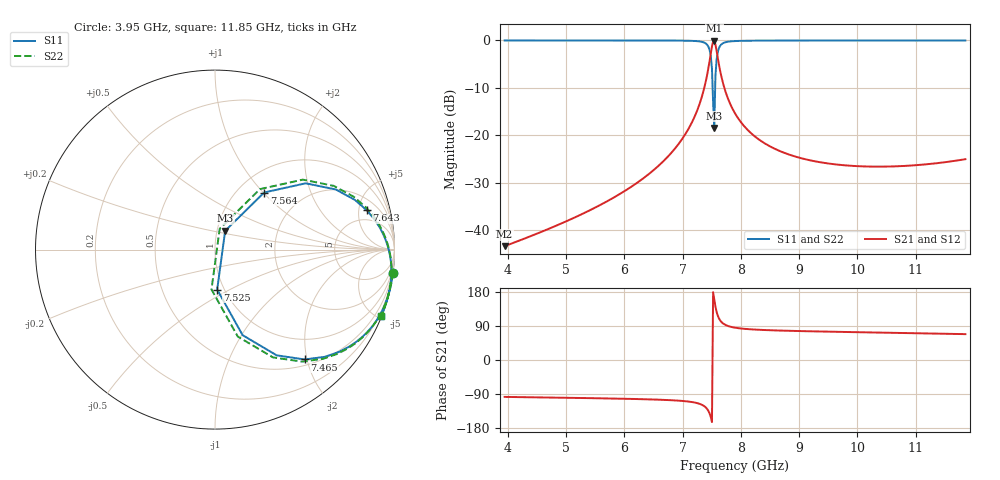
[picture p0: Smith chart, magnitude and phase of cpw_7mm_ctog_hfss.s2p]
! Touchstone file exported from HFSS 2025.2.0
!  File:  D:/lfl/Documents/Ansoft/06082026_005pf.aedt
!  Generated:  05:11:26 PM Jul 18, 2026
!  Design:  cpw_7mm1
!  Project:  06082026_005pf
!  Setup:  Setup1
!  Solution:  Sweep
# GHz S MA R 50.000000
! Terminal data exported
! Port[1] = 1
! Port[2] = 2
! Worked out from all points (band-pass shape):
!   401 points, 3.95 GHz to 11.85 GHz, reference 50 ohm
!   highest |S21| = -0.06 dB at 7.545 GHz (marker M1); lowest = -43.4 dB at 3.95 GHz (marker M2)
!   |S21| within 3 dB of the highest: 7.481 GHz to 7.596 GHz (115.5 MHz wide, 1.53 % of centre)
!   lowest |S11| = -18.5 dB at 7.545 GHz (marker M3), VSWR 1.27, Z = 54.7 + j11.6 ohm
!   |S11| at or under -10 dB: 7.516 GHz to 7.56 GHz (43.6 MHz wide, 0.578 % of centre)
!   |S22| runs from -18.5 to 0.0 dB; largest |S21 - S12| = 1.2e-09
!   S11 on the Smith chart (normalised r, x): 3.95 GHz: 0, -15; 7.465 GHz: 0.60, -1.96; 7.525 GHz: 0.93, -0.43; 7.564 GHz: 1.31, +1.01; 7.643 GHz: 3.31, +6.13; 11.85 GHz: 0.02, -5.20
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3.95  1 -7.4  0.006752 -97.4  0.006752 -97.4  1 -7.4
! Gamma 0 0 0 0
! Port Impedance 50 0 50 0
5.27325  0.9999 -10.3  0.01469 -100.3  0.01469 -100.3  0.9999 -10.3
6.02375  0.9997 -12.3  0.02613 -102.3  0.02613 -102.3  0.9997 -12.4
6.5965  0.9988 -14.7  0.04806 -104.7  0.04806 -104.7  0.9988 -14.7
7.01125  0.9955 -18.1  0.09463 -108.2  0.09463 -108.2  0.9955 -18.3
7.28775  0.9778 -25.2  0.2096 -115.4  0.2096 -115.4  0.9778 -25.6
7.40625  0.9221 -36.0  0.387 -126.3  0.387 -126.3  0.9221 -36.7
7.4655  0.7902 -50.8  0.6128 -141.5  0.6128 -141.5  0.7902 -52.2
7.48525  0.6819 -59.7  0.7314 -150.7  0.7314 -150.7  0.6819 -61.7
7.505  0.5008 -72.1  0.8656 -163.7  0.8656 -163.7  0.5008 -75.3
7.52475  0.2229 -86.9  0.9748 179.1  0.9748 179.1  0.2229 -95.1
7.5445  0.1189 61.6  0.9929 159.4  0.9929 159.4  0.119 77.3
7.56425  0.4196 49.3  0.9077 141.3  0.9077 141.3  0.4196 53.4
7.60375  0.7513 26.5  0.66 117.3  0.66 117.3  0.7513 28.2
7.64325  0.8743 14.5  0.4855 105.0  0.4855 105.0  0.8743 15.5
7.72225  0.9513 3.4  0.3083 93.8  0.3083 93.8  0.9513 4.1
7.9  0.9854 -4.9  0.1703 85.2  0.1703 85.2  0.9854 -4.6
8.11725  0.9935 -8.6  0.1137 81.5  0.1137 81.5  0.9935 -8.4
8.4135  0.9966 -11.1  0.0818 79.0  0.0818 79.0  0.9966 -10.9
9.22325  0.9986 -14.4  0.05378 75.6  0.05378 75.6  0.9986 -14.3
10.5465  0.9989 -18.1  0.04675 71.9  0.04675 71.9  0.9989 -18.1
11.85  0.9984 -21.8  0.05589 68.3  0.05589 68.3  0.9984 -21.7
